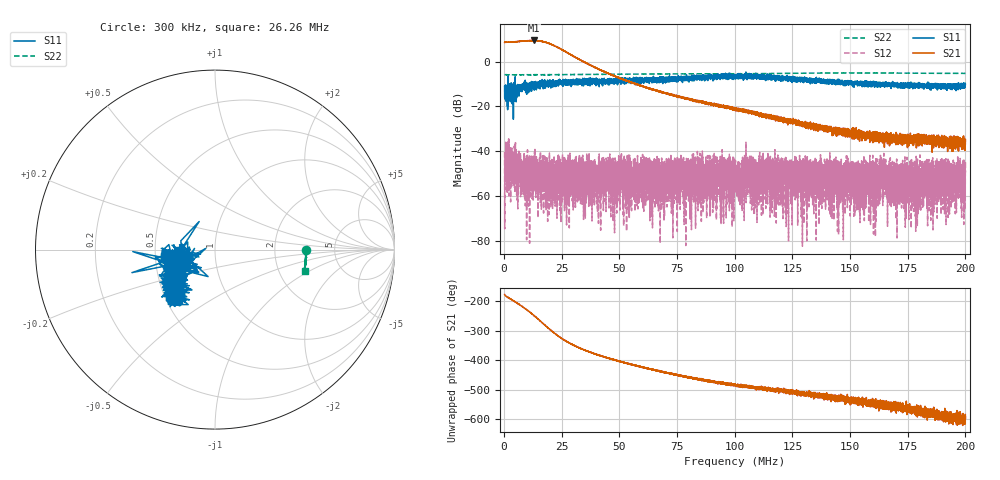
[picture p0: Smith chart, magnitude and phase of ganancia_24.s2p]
# Hz S DB R 50
! CMT, M5065, 19127446, 24.2.4/2
! Date: 11/8/2024 5:07:37 PM
! Data: Format (Calibration Info)
! Freq	S11:dB/Ang(F2)	S21:dB/Ang(F2)	S12:dB/Ang(F2)	S22:dB/Ang(F2)
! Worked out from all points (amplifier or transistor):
!   9000 points, 300 kHz to 200 MHz, reference 50 ohm
!   highest |S21| = 9.4 dB at 13.04 MHz (marker M1)
!   |S21| within 3 dB of that: start of sweep to 23.08 MHz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
!   unconditionally stable (mu >= 1): start of sweep to end of sweep
!   at 33.59 MHz: K = 82.50, MAG = 2.4 dB, |S12| = -48.6 dB
!   at 100.2 MHz: K = 806.88, MAG = -18.6 dB, |S12| = -48.2 dB
!   at 200 MHz: K = 5586.77, MAG = -33.4 dB, |S12| = -49.5 dB
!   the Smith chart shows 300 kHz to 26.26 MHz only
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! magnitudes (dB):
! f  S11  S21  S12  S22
! 300 kHz  -11.1  8.6  -40.3  -5.9
! 1.321 MHz  -14.9  8.6  -44.2  -5.9
! 7.113 MHz  -12.9  9.1  -43.6  -5.9
! 10.15 MHz  -11.1  9.3  -63.6  -5.9
! 13.04 MHz  -9.0  9.4  -56.8  -5.9
! 18.16 MHz  -10.0  8.6  -61.7  -5.9
! 33.59 MHz  -9.2  0.5  -48.6  -5.8
! 66.87 MHz  -7.9  -13.1  -48.2  -5.5
! 71.73 MHz  -6.3  -14.5  -48.7  -5.5
! 72.87 MHz  -7.7  -15.0  -56.5  -5.5
! 76.93 MHz  -7.4  -16.2  -52.9  -5.5
! 80.32 MHz  -7.6  -17.0  -50.1  -5.5
! 82.61 MHz  -8.0  -17.3  -49.5  -5.5
! 91.33 MHz  -6.6  -19.2  -44.5  -5.4
! 97.88 MHz  -7.2  -20.1  -52.3  -5.4
! 100.2 MHz  -6.3  -21.2  -48.2  -5.4
! 105.2 MHz  -6.7  -21.6  -49.9  -5.4
! 133.4 MHz  -8.7  -28.5  -60.7  -5.1
! 166.7 MHz  -9.3  -32.7  -56.3  -5.1
! 179.8 MHz  -10.0  -37.6  -53.6  -5.2
! 181.9 MHz  -10.6  -34.4  -52.1  -5.2
! 200 MHz  -10.2  -35.4  -49.5  -5.3
